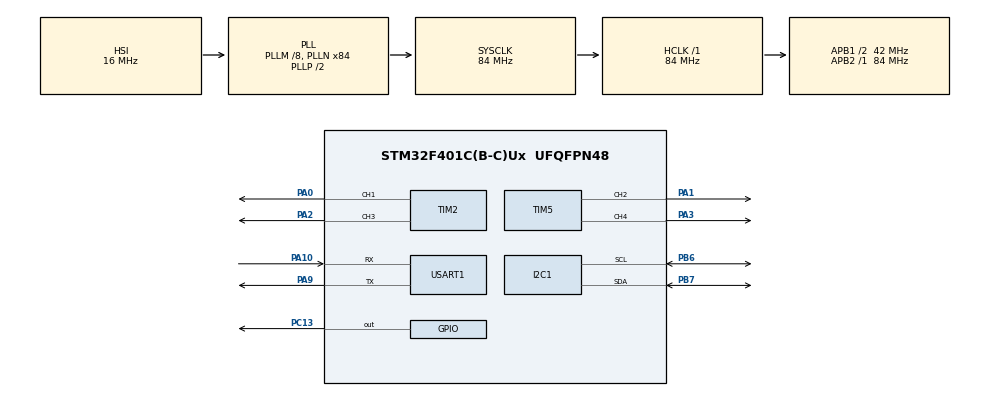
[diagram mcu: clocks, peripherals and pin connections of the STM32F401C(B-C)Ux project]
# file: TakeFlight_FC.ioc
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Dma.Request0=TIM2_CH1
Dma.Request1=TIM2_CH3/UP
Dma.Request2=TIM5_CH2
Dma.Request3=TIM5_CH4/TRIG
Dma.TIM2_CH1.0.Direction=DMA_MEMORY_TO_PERIPH
Dma.TIM2_CH1.0.FIFOMode=DMA_FIFOMODE_DISABLE
Dma.TIM2_CH1.0.Instance=DMA1_Stream5
Dma.TIM2_CH1.0.MemDataAlignment=DMA_MDATAALIGN_WORD
Dma.TIM2_CH1.0.MemInc=DMA_MINC_ENABLE
Dma.TIM2_CH1.0.Mode=DMA_NORMAL
Dma.TIM2_CH1.0.PeriphDataAlignment=DMA_PDATAALIGN_WORD
Dma.TIM2_CH1.0.PeriphInc=DMA_PINC_DISABLE
Dma.TIM2_CH1.0.Priority=DMA_PRIORITY_HIGH
Dma.TIM2_CH3/UP.1.Direction=DMA_MEMORY_TO_PERIPH
Dma.TIM2_CH3/UP.1.FIFOMode=DMA_FIFOMODE_DISABLE
Dma.TIM2_CH3/UP.1.Instance=DMA1_Stream1
Dma.TIM2_CH3/UP.1.MemDataAlignment=DMA_MDATAALIGN_WORD
Dma.TIM2_CH3/UP.1.MemInc=DMA_MINC_ENABLE
Dma.TIM2_CH3/UP.1.Mode=DMA_NORMAL
Dma.TIM2_CH3/UP.1.PeriphDataAlignment=DMA_PDATAALIGN_WORD
Dma.TIM2_CH3/UP.1.PeriphInc=DMA_PINC_DISABLE
Dma.TIM2_CH3/UP.1.Priority=DMA_PRIORITY_HIGH
Dma.TIM5_CH2.2.Direction=DMA_MEMORY_TO_PERIPH
Dma.TIM5_CH2.2.FIFOMode=DMA_FIFOMODE_DISABLE
Dma.TIM5_CH2.2.Instance=DMA1_Stream4
Dma.TIM5_CH2.2.MemDataAlignment=DMA_MDATAALIGN_WORD
Dma.TIM5_CH2.2.MemInc=DMA_MINC_ENABLE
Dma.TIM5_CH2.2.Mode=DMA_NORMAL
Dma.TIM5_CH2.2.PeriphDataAlignment=DMA_PDATAALIGN_WORD
Dma.TIM5_CH2.2.PeriphInc=DMA_PINC_DISABLE
Dma.TIM5_CH2.2.Priority=DMA_PRIORITY_HIGH
Dma.TIM5_CH4/TRIG.3.Direction=DMA_MEMORY_TO_PERIPH
Dma.TIM5_CH4/TRIG.3.FIFOMode=DMA_FIFOMODE_ENABLE
Dma.TIM5_CH4/TRIG.3.FIFOThreshold=DMA_FIFO_THRESHOLD_1QUARTERFULL
Dma.TIM5_CH4/TRIG.3.Instance=DMA1_Stream3
Dma.TIM5_CH4/TRIG.3.MemBurst=DMA_MBURST_SINGLE
Dma.TIM5_CH4/TRIG.3.MemDataAlignment=DMA_MDATAALIGN_WORD
Dma.TIM5_CH4/TRIG.3.MemInc=DMA_MINC_ENABLE
Dma.TIM5_CH4/TRIG.3.Mode=DMA_NORMAL
Dma.TIM5_CH4/TRIG.3.PeriphBurst=DMA_PBURST_SINGLE
Dma.TIM5_CH4/TRIG.3.PeriphDataAlignment=DMA_PDATAALIGN_WORD
Dma.TIM5_CH4/TRIG.3.PeriphInc=DMA_PINC_DISABLE
Dma.TIM5_CH4/TRIG.3.Priority=DMA_PRIORITY_HIGH
Mcu.Family=STM32F4
Mcu.Name=STM32F401C(B-C)Ux
Mcu.Package=UFQFPN48
NVIC.DMA1_Stream1_IRQn=true\:0\:0\:false\:false\:true\:false\:true\:true
NVIC.DMA1_Stream3_IRQn=true\:0\:0\:false\:false\:true\:false\:true\:true
NVIC.DMA1_Stream4_IRQn=true\:0\:0\:false\:false\:true\:false\:true\:true
NVIC.DMA1_Stream5_IRQn=true\:0\:0\:false\:false\:true\:false\:true\:true
NVIC.PriorityGroup=NVIC_PRIORITYGROUP_4
PA0-WKUP.Signal=S_TIM2_CH1_ETR
PA1.Signal=S_TIM5_CH2
PA10.Mode=Asynchronous
PA10.Signal=USART1_RX
PA2.Signal=S_TIM2_CH3
PA3.Signal=S_TIM5_CH4
PA9.Mode=Asynchronous
PA9.Signal=USART1_TX
PB6.Mode=I2C
PB6.Signal=I2C1_SCL
PB7.Mode=I2C
PB7.Signal=I2C1_SDA
PC13-ANTI_TAMP.Signal=GPIO_Output
ProjectManager.HeapSize=0x200
ProjectManager.StackSize=0x400
ProjectManager.TargetToolchain=STM32CubeIDE
RCC.48MHZClocksFreq_Value=42000000
RCC.AHBFreq_Value=84000000
RCC.APB1CLKDivider=RCC_HCLK_DIV2
RCC.APB1Freq_Value=42000000
RCC.APB1TimFreq_Value=84000000
RCC.APB2Freq_Value=84000000
RCC.APB2TimFreq_Value=84000000
RCC.CortexFreq_Value=84000000
RCC.HCLKFreq_Value=84000000
RCC.HSE_VALUE=25000000
RCC.HSI_VALUE=16000000
RCC.LSE_VALUE=32768
RCC.PLLM=8
RCC.PLLN=84
RCC.SYSCLKFreq_VALUE=84000000
RCC.SYSCLKSource=RCC_SYSCLKSOURCE_PLLCLK
RCC.VCOOutputFreq_Value=168000000
SH.S_TIM2_CH1_ETR.0=TIM2_CH1,PWM Generation1 CH1
SH.S_TIM2_CH3.0=TIM2_CH3,PWM Generation3 CH3
SH.S_TIM5_CH2.0=TIM5_CH2,PWM Generation2 CH2
SH.S_TIM5_CH4.0=TIM5_CH4,PWM Generation4 CH4
TIM10.Prescaler=84-1
TIM2.Channel-PWM\ Generation1\ CH1=TIM_CHANNEL_1
TIM2.Channel-PWM\ Generation3\ CH3=TIM_CHANNEL_3
TIM5.Channel-PWM\ Generation2\ CH2=TIM_CHANNEL_2
TIM5.Channel-PWM\ Generation4\ CH4=TIM_CHANNEL_4
USART1.VirtualMode=VM_ASYNC
VP_TIM10_VS_ClockSourceINT.Mode=Enable_Timer
board=custom

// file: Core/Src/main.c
/* USER CODE BEGIN Header */
/**
  ******************************************************************************
  * @file           : main.c
  * @brief          : Main program body
  ******************************************************************************
  * @attention
  *
  * Copyright (c) 2024 STMicroelectronics.
  * All rights reserved.
  *
  * This software is licensed under terms that can be found in the LICENSE file
  * in the root directory of this software component.
  * If no LICENSE file comes with this software, it is provided AS-IS.
  *
  ******************************************************************************
  */
/* USER CODE END Header */
#include "main.h"
#include "dma.h"
#include "i2c.h"
#include "tim.h"
#include "usart.h"
#include "gpio.h"

/* USER CODE BEGIN Includes */
#include <stdbool.h>
#include "ibus.h"
#include "imu.h"
#include "dshot.h"
#include "PID_Control.h"
/* USER CODE END Includes */

/* USER CODE BEGIN PV */

// Ibus
static uint8_t iBus_rx_buffer[IBUS_BUFFER_SIZE];
static ibus_rx_t ibus_rx_struct = {0};
static bool wakeup = false;

//MPU6050
static gyro drone_gyro = {0,0,0,0,0,0};
static accel drone_accel = {0,0,0,0,0,0};
static mpu drone_mpu = {
	&drone_gyro,
	&drone_accel
};
static uint8_t tries = 0;

// ESCs
static uint16_t motor_values[4] = {0,0,0,0};

// PID controller stuff

// Max attitude rate of change rates (degrees per second)
float max_rate_roll = 30.0;
float max_rate_pitch = 30.0;
float max_rate_yaw = 50.0;

// Desired Flight Controller Cycle Time
float target_cycle_hz = 250.0;

// PID Controller values
const float pid_roll_kp = 0.00043714285;
const float pid_roll_ki = 0.00255;
const float pid_roll_kd = 0.00002571429;
const float pid_pitch_kp = pid_roll_kp;
const float pid_pitch_ki = pid_roll_ki;
const float pid_pitch_kd = pid_roll_kd;
const float pid_yaw_kp = 0.001714287;
const float pid_yaw_ki = 0.003428571;
const float pid_yaw_kd = 0.0;
const float i_limit = 150.0;

// throttle settings
double throttle_idle = 0.05;
double throttle_govenor = 0.25;

/* USER CODE END PV */

void SystemClock_Config(void);

int main(void)
{

  /* MCU Configuration--------------------------------------------------------*/

  /* Reset of all peripherals, Initializes the Flash interface and the Systick. */
  HAL_Init();

  /* Configure the system clock */
  SystemClock_Config();

  /* Initialize all configured peripherals */
  MX_GPIO_Init();
  MX_DMA_Init();
  MX_TIM2_Init();
  MX_TIM5_Init();
  MX_I2C1_Init();
  MX_USART1_UART_Init();
  MX_TIM10_Init();

  /* Infinite loop */
  /* USER CODE BEGIN WHILE */
  while (1)
  {

	  /********************* State 1 : Wakeup *********************/

	  // Wait for user to turn SWA on

	  while (wakeup == false) {
		  // check if new data has been received from Controller
		  if(HAL_UART_Receive(&huart1, iBus_rx_buffer, IBUS_BUFFER_SIZE, 1000) == HAL_OK) {
			  // Check if the received data is a valid iBus packet
			  if (iBus_rx_buffer[1] == 0x20) {
				  // Process the iBus packet
				  process_iBus_data(iBus_rx_buffer, &ibus_rx_struct);

				  // check if SWA was turned on
				  if (ibus_rx_struct.ch5 > 0.5) {wakeup = true;}
			  }
		  }
		  HAL_GPIO_WritePin(GPIOC, GPIO_PIN_13, GPIO_PIN_SET); // set LED ON
		  HAL_Delay(1000); // 1 second timeout
		  HAL_GPIO_WritePin(GPIOC, GPIO_PIN_13, GPIO_PIN_RESET); // set LED OFF
	  }

	  /********************* State 2 : Prepare Drone for Flight *********************/

	  // Initialize MPU 6050
	  while (init_mpu6050() != true) {
		  tries++;
		  if (tries >= 30) {
			  signal_init_fail();
			  break;
		  }
		  HAL_GPIO_WritePin(GPIOC, GPIO_PIN_13, GPIO_PIN_SET); // set LED ON
		  HAL_Delay(1000); // 1 second timeout
		  HAL_GPIO_WritePin(GPIOC, GPIO_PIN_13, GPIO_PIN_RESET); // set LED OFF
	  }
	  // failed to init MPU6050 retry setup
	  if (tries >= 30) {
		  tries = 0;
		  continue;
	  }

	  // calibrate mpu6050
	  calibrate_mpu6050(&drone_mpu);

	  // Initialize and arm motors
	  HAL_GPIO_WritePin(GPIOC, GPIO_PIN_13, GPIO_PIN_RESET); // set LED OFF
	  dshot_init(DSHOT600);
	  HAL_Delay(500);
	  dshot_arm_motors(motor_values);

	  /********************* State 3: PID Control *********************/

	  // constraints calculations / state variables

	  float cycle_time_seconds = 1.0 / target_cycle_hz;
	  uint16_t cycle_time_us = (uint16_t)(cycle_time_seconds * 1000000);
	  double max_throttle = throttle_govenor;
	  double throttle_range = max_throttle - throttle_idle;

	  // PID inits
	  PIDController_t roll_PID = {0};
	  PIDController_t pitch_PID = {0};
	  PIDController_t yaw_PID = {0};

	  initPIDController(&roll_PID, pid_roll_kp, pid_roll_ki, pid_roll_kd, cycle_time_seconds, i_limit);
	  initPIDController(&pitch_PID, pid_pitch_kp, pid_pitch_ki, pid_pitch_kd, cycle_time_seconds, i_limit);
	  initPIDController(&yaw_PID, pid_yaw_kp, pid_yaw_ki, pid_yaw_kd, cycle_time_seconds, i_limit);

	  // PID Controller Timing
	  uint16_t start_time;
	  uint16_t end_time;

	  HAL_GPIO_WritePin(GPIOC, GPIO_PIN_13, GPIO_PIN_SET); // set LED ON

	  while(1) { // Change to check if SWA or SWC is pressed

		  // Mark start time (us)
		  start_time = __HAL_TIM_GET_COUNTER(&htim10);

		  // read IMU data
		  read_mpu6050(&drone_mpu);

		  // read control commands from RC
		  if(HAL_UART_Receive(&huart1, iBus_rx_buffer, IBUS_BUFFER_SIZE, 1000) == HAL_OK) {
			  // Check if the received data is a valid iBus packet
			  if (iBus_rx_buffer[1] == 0x20) {
				  // Process iBus packet
				  process_iBus_data(iBus_rx_buffer, &ibus_rx_struct);
			  }
		  }

		  // Adjust motor outputs
		  if (ibus_rx_struct.ch5 < 0.5) {
			  // turn motors off
			  motor_values[0] = 0;
			  motor_values[1] = 0;
			  motor_values[2] = 0;
			  motor_values[3] = 0;
			  dshot_write(motor_values);

			  // reset PID's
			  resetPID(&roll_PID);
			  resetPID(&pitch_PID);
			  resetPID(&yaw_PID);

		  } else {

			  // calculate the adjusted desired throttle ( above idle, below govenor, linearly scaled)
			  float adj_throttle = throttle_idle + (throttle_range * ibus_rx_struct.ch3);

			  // calculate errors - difference between the actual rates and set rates
			  float error_rate_roll = (ibus_rx_struct.ch1 * max_rate_roll) - drone_mpu.mpu_gyro->x;
			  float error_rate_pitch = (ibus_rx_struct.ch2 * max_rate_pitch) - drone_mpu.mpu_gyro->y;
			  float error_rate_yaw = (ibus_rx_struct.ch4 * max_rate_yaw) - drone_mpu.mpu_gyro->z;

			  // PID calculations
			  float pid_roll = calculatePID(&roll_PID, error_rate_roll);
			  float pid_pitch = calculatePID(&pitch_PID, error_rate_pitch);
			  float pid_yaw = calculatePID(&yaw_PID, error_rate_yaw);

			  // calculate final throttle values
			  float t1 = adj_throttle + pid_pitch + pid_roll - pid_yaw;
			  float t2 = adj_throttle + pid_pitch - pid_roll + pid_yaw;
			  float t3 = adj_throttle - pid_pitch + pid_roll + pid_yaw;
			  float t4 = adj_throttle - pid_pitch - pid_roll - pid_yaw;

			  // Write throttle values to motor ******** IDK WHAT MOTORS CORRESPOND TO WHAT RIGHT NOW ********
			  motor_values[0] = (uint16_t)(t1 * 2000);
			  motor_values[1] = (uint16_t)(t2 * 2000);
			  motor_values[2] = (uint16_t)(t3 * 2000);
			  motor_values[3] = (uint16_t)(t4 * 2000);
			  dshot_write(motor_values);
		  }

		  // Mark end time (us)
		  end_time = __HAL_TIM_GET_COUNTER(&htim10);

		  // wait before continuing to achieve desired system frequency
		  uint16_t elapsed_time = end_time - start_time;
		  if (elapsed_time < cycle_time_us) {
			  // run empty clock cycles given 84MHz system clock
			  uint16_t burn_clock_cycles = (cycle_time_us - elapsed_time) * 84;
			  for ( ; burn_clock_cycles > 0 ; burn_clock_cycles--){}
		  }

	  }

	  /********************* State 4: DeInit *********************/

	  /********************* State Emergency Shutdown: Kill Drone *********************/

    /* USER CODE END WHILE */

  }
}

void SystemClock_Config(void)
{
  RCC_OscInitTypeDef RCC_OscInitStruct = {0};
  RCC_ClkInitTypeDef RCC_ClkInitStruct = {0};

  /** Configure the main internal regulator output voltage
  */
  __HAL_RCC_PWR_CLK_ENABLE();
  __HAL_PWR_VOLTAGESCALING_CONFIG(PWR_REGULATOR_VOLTAGE_SCALE2);

  /** Initializes the RCC Oscillators according to the specified parameters
  * in the RCC_OscInitTypeDef structure.
  */
  RCC_OscInitStruct.OscillatorType = RCC_OSCILLATORTYPE_HSI;
  RCC_OscInitStruct.HSIState = RCC_HSI_ON;
  RCC_OscInitStruct.HSICalibrationValue = RCC_HSICALIBRATION_DEFAULT;
  RCC_OscInitStruct.PLL.PLLState = RCC_PLL_ON;
  RCC_OscInitStruct.PLL.PLLSource = RCC_PLLSOURCE_HSI;
  RCC_OscInitStruct.PLL.PLLM = 8;
  RCC_OscInitStruct.PLL.PLLN = 84;
  RCC_OscInitStruct.PLL.PLLP = RCC_PLLP_DIV2;
  RCC_OscInitStruct.PLL.PLLQ = 4;
  if (HAL_RCC_OscConfig(&RCC_OscInitStruct) != HAL_OK)
  {
    Error_Handler();
  }

  /** Initializes the CPU, AHB and APB buses clocks
  */
  RCC_ClkInitStruct.ClockType = RCC_CLOCKTYPE_HCLK|RCC_CLOCKTYPE_SYSCLK
                              |RCC_CLOCKTYPE_PCLK1|RCC_CLOCKTYPE_PCLK2;
  RCC_ClkInitStruct.SYSCLKSource = RCC_SYSCLKSOURCE_PLLCLK;
  RCC_ClkInitStruct.AHBCLKDivider = RCC_SYSCLK_DIV1;
  RCC_ClkInitStruct.APB1CLKDivider = RCC_HCLK_DIV2;
  RCC_ClkInitStruct.APB2CLKDivider = RCC_HCLK_DIV1;

  if (HAL_RCC_ClockConfig(&RCC_ClkInitStruct, FLASH_LATENCY_2) != HAL_OK)
  {
    Error_Handler();
  }
}

void Error_Handler(void)
{
  __disable_irq();
  while (1)
  {
  }
}
